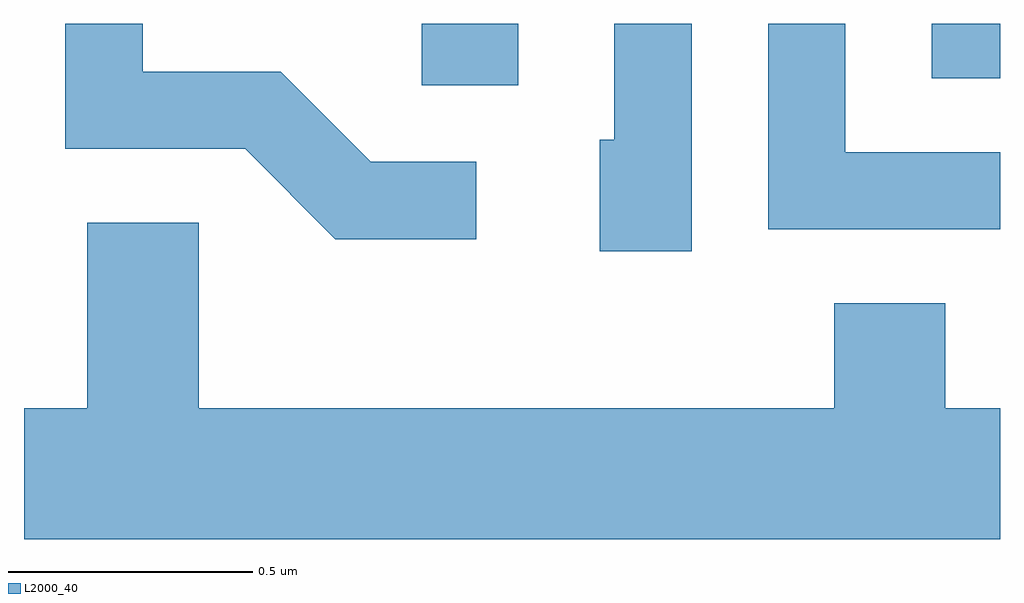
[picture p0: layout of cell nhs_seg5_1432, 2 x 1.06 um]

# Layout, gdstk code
import gdstk
lib = gdstk.Library(unit=1e-6, precision=1e-09)
def R(c, l, rs):  # rectangles x0, y0, x1, y1
    for r in rs: c.add(gdstk.rectangle(r[:2], r[2:], *l))
def P(c, l, *ps):  # polygons
    for p in ps: c.add(gdstk.Polygon(p, *l))
L2000_40 = (2000, 40)

nhs_seg5_1432 = lib.new_cell('nhs_seg5_1432')
R(nhs_seg5_1432, L2000_40, [(196.426,1459.946,196.624,1460.072), (197.471,1459.961,197.611,1460.072)])
P(nhs_seg5_1432, L2000_40, [(197.611,1459.809),(197.294,1459.809),(197.294,1460.072),(197.136,1460.072),(197.136,1459.651),(197.611,1459.651)],
  [(196.538,1459.789),(196.322,1459.789),(196.137,1459.974),(195.854,1459.974),(195.854,1460.072),(195.696,1460.072),(195.696,1459.816),(196.064,1459.816),(196.249,1459.631),(196.538,1459.631)],
  [(196.979,1460.072),(196.821,1460.072),(196.821,1459.834),(196.791,1459.834),(196.791,1459.606),(196.979,1459.606)],
  [(197.611,1459.284),(197.499,1459.284),(197.499,1459.499),(197.271,1459.499),(197.271,1459.284),(195.969,1459.284),(195.969,1459.664),(195.741,1459.664),(195.741,1459.284),(195.611,1459.284),(195.611,1459.016),(197.611,1459.016)])

lib.write_gds('nhs_seg5_1432.gds')
